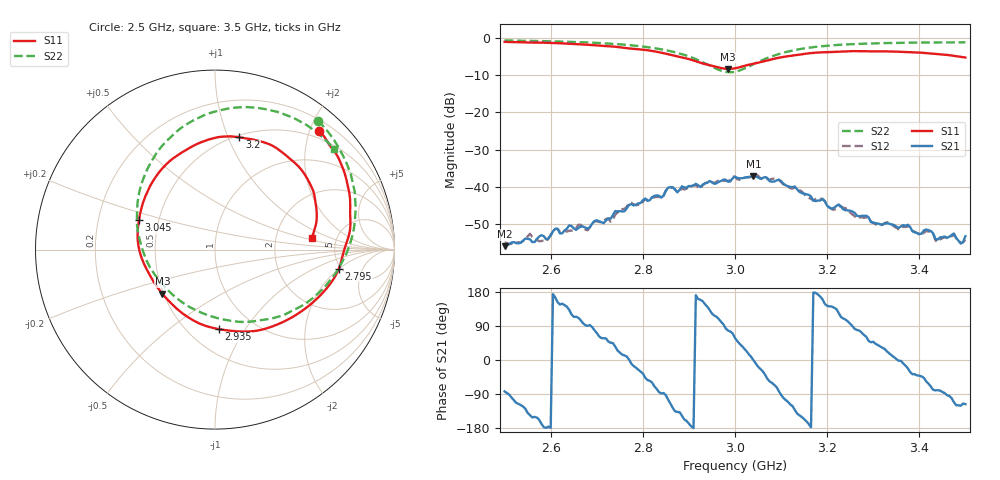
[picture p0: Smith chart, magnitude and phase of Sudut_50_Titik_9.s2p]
# Hz S RI R 50
! CMT, C1220, 16058040, 17.2.0/1
! Date: 15/08/2018 09:45:29
! Data: Format (Calibration Info)
! Freq  S11: Re/Im (F2)  S21: Re/Im (F2)  S12: Re/Im (F2)  S22: Re/Im (F2)
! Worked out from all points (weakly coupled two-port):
!   201 points, 2.5 GHz to 3.5 GHz, reference 50 ohm
!   highest |S21| = -37.06 dB at 3.04 GHz (marker M1); lowest = -55.9 dB at 2.5 GHz (marker M2)
!   lowest |S11| = -8.3 dB at 2.985 GHz (marker M3), VSWR 2.24, Z = 24.6 - j14.2 ohm
!   |S11| at or under -10 dB: nowhere
!   |S22| runs from -9.3 to -0.7 dB; largest |S21 - S12| = 0.0012
!   S11 on the Smith chart (normalised r, x): 2.5 GHz: 0.37, +2.15; 2.795 GHz: 4.78, -1.98; 2.935 GHz: 0.69, -0.77; 3.045 GHz: 0.39, +0.16; 3.2 GHz: 0.52, +1.10; 3.5 GHz: 3.26, +0.59
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2.5e9  0.5798 0.6624  0.000197 -0.0016  0.000218 -0.00178  0.5738 0.7186
2.555e9  0.6434 0.5747  -0.00164 -0.00113  -0.00189 -0.00142  0.6349 0.6501
2.59e9  0.688 0.5102  -0.00199 -2.75e-05  -0.00186 -0.000149  0.6715 0.5976
2.61e9  0.7049 0.4711  -0.00265 0.000719  -0.00266 0.000686  0.6919 0.5636
2.67e9  0.748 0.3179  -0.000367 0.00293  -0.000126 0.00288  0.7472 0.4458
2.77e9  0.719 -0.00382  0.00576 0.000129  0.00607 3.02e-05  0.78 0.1657
2.795e9  0.6903 -0.1062  0.00525 -0.0031  0.00491 -0.00298  0.7655 0.0774
2.835e9  0.5881 -0.2535  0.000694 -0.00759  0.000905 -0.00731  0.7031 -0.0783
2.935e9  0.0202 -0.4431  -0.00936 0.00606  -0.00969 0.00574  0.2158 -0.3992
2.985e9  -0.2933 -0.2463  0.00252 0.0115  0.00206 0.0117  -0.1802 -0.2955
3e9  -0.3607 -0.1465  0.00727 0.0116  0.00795 0.0112  -0.2804 -0.2067
3.04e9  -0.4285 0.1291  0.014 -0.00017  0.0143 0.000383  -0.4298 0.1004
3.045e9  -0.4242 0.1632  0.0136 -0.00222  0.0145 -0.00219  -0.4348 0.1423
3.105e9  -0.2533 0.4923  -0.00194 -0.0109  -0.0022 -0.0106  -0.3243 0.5402
3.17e9  0.0214 0.6271  -0.00655 0.000217  -0.00657 -0.000318  -0.0697 0.7444
3.2e9  0.136 0.6255  -0.00446 0.00338  -0.0044 0.00359  0.0425 0.7793
3.335e9  0.4845 0.4407  0.00307 0.000941  0.00322 0.000829  0.416 0.7426
3.425e9  0.5619 0.2495  0.000878 -0.00242  0.000801 -0.00242  0.5711 0.6494
3.44e9  0.5666 0.2095  0.000351 -0.00195  0.000316 -0.00181  0.593 0.6313
3.475e9  0.5581 0.1244  -0.00086 -0.00222  -0.000787 -0.00217  0.6356 0.5907
3.49e9  0.547 0.0871  -0.000898 -0.00151  -0.000948 -0.00147  0.6529 0.5719
3.5e9  0.5391 0.0641  -0.000981 -0.00196  -0.00104 -0.0017  0.6642 0.5592
